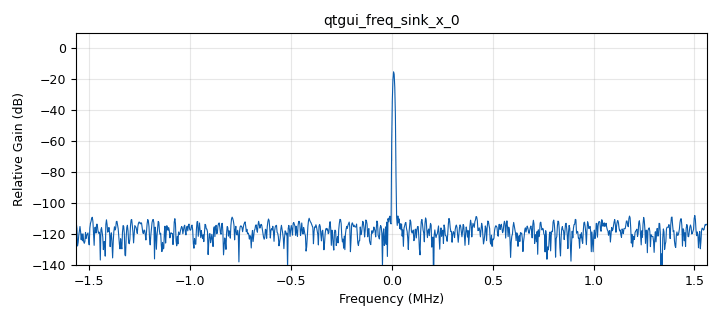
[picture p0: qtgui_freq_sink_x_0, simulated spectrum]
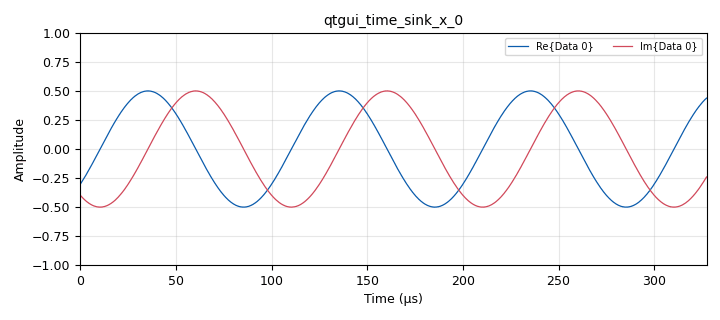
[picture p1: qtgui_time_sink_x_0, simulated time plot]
options:
  parameters:
    author: Daniel Morelos y Hailen Chacón
    generate_options: qt_gui
    id: practica1B
    output_language: python
    title: generador
  states: {}

blocks:
- name: A
  id: variable_qtgui_range
  parameters:
    label: Amplitud señal
    start: '0'
    step: '1e-2'
    stop: '500e-3'
    value: '500e-3'
  states: {}
- name: 'No'
  id: variable_qtgui_range
  parameters:
    label: Amplitud Ruido
    start: '0'
    step: '1e-6'
    stop: '1e-1'
    value: '1e-4'
  states: {}
- name: fcut
  id: variable_qtgui_range
  parameters:
    label: frecuencia portadora
    start: '0'
    step: '100'
    stop: samp_rate/2
    value: samp_rate/2
  states: {}
- name: fm
  id: variable_qtgui_range
  parameters:
    label: Frequencia Señal
    start: 1e3
    step: 1e3
    stop: 1e6
    value: 10e3
  states: {}
- name: samp_rate
  id: variable
  parameters:
    value: 25e6/8
  states: {}
- name: t_band
  id: variable_qtgui_range
  parameters:
    label: Bnada de transicion
    start: '0'
    step: '100'
    stop: samp_rate/20
    value: samp_rate/20
  states: {}
- name: analog_noise_source_x_0
  id: analog_noise_source_x
  parameters:
    alias: analog_noise_source_x_0
    amp: 'No'
    noise_type: analog.GR_GAUSSIAN
    seed: '0'
    type: complex
  states: {}
- name: analog_sig_source_x_0
  id: analog_sig_source_x
  parameters:
    alias: analog_sig_source_x_0
    amp: A
    freq: fm
    offset: '0'
    phase: '0'
    samp_rate: samp_rate
    type: complex
    waveform: analog.GR_COS_WAVE
  states: {}
- name: blocks_add_xx_0
  id: blocks_add_xx
  parameters:
    alias: blocks_add_xx_0
    type: complex
  states: {}
- name: blocks_throttle2_0
  id: blocks_throttle2
  parameters:
    alias: blocks_thtottle2_0
    samples_per_second: samp_rate
    type: complex
  states: {}
- name: low_pass_filter_0
  id: low_pass_filter
  parameters:
    alias: low_pass_filter_0
    cutoff_freq: fcut
    decim: '1'
    gain: '1'
    samp_rate: samp_rate
    type: fir_filter_ccf
    width: t_band
    win: window.WIN_HAMMING
  states: {}
- name: qtgui_freq_sink_x_0
  id: qtgui_freq_sink_x
  parameters:
    alias: qtgui_freq_sink_x_0
    bw: samp_rate
    fc: '0'
    fftsize: '1024'
    type: complex
  states: {}
- name: qtgui_time_sink_x_0
  id: qtgui_time_sink_x
  parameters:
    alias: qtgui_time_sink_x_0
    size: '1024'
    srate: samp_rate
    type: complex
  states: {}

connections:
- [analog_noise_source_x_0, '0', blocks_add_xx_0, '1']
- [analog_sig_source_x_0, '0', blocks_throttle2_0, '0']
- [blocks_add_xx_0, '0', low_pass_filter_0, '0']
- [blocks_throttle2_0, '0', blocks_add_xx_0, '0']
- [low_pass_filter_0, '0', qtgui_freq_sink_x_0, '0']
- [low_pass_filter_0, '0', qtgui_time_sink_x_0, '0']

metadata:
  file_format: 1
  grc_version: v3.11.0.0git-810-g1ecb8565
